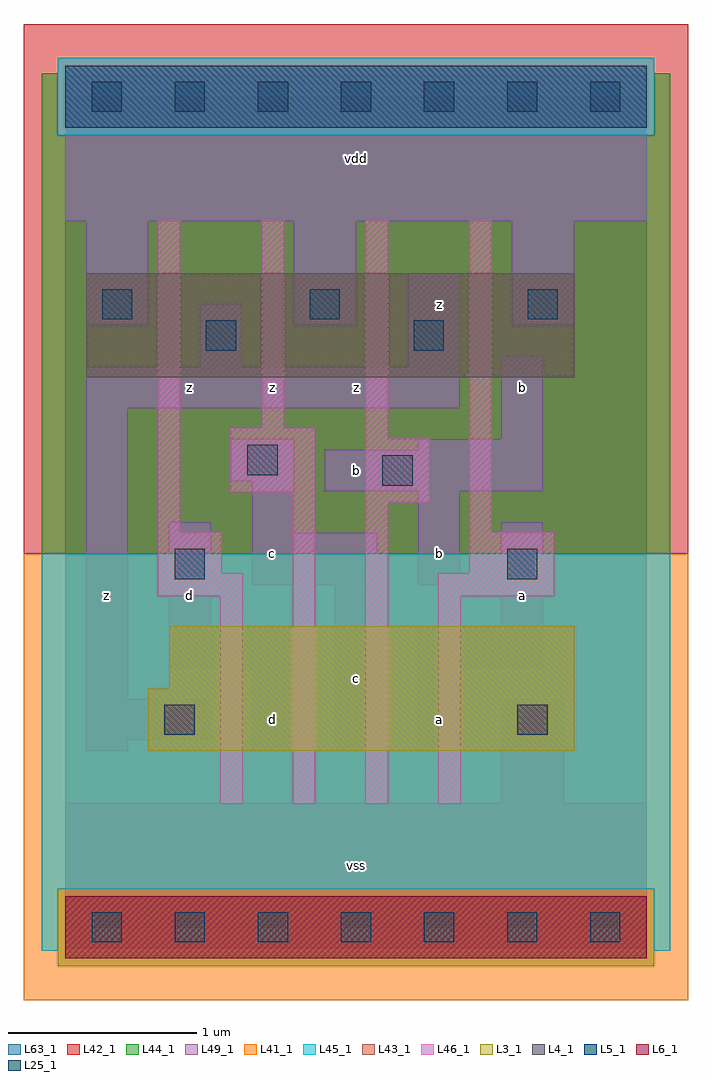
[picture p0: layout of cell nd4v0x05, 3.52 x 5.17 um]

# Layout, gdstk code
import gdstk
lib = gdstk.Library(unit=1e-6, precision=1e-09)
def R(c, l, rs):  # rectangles x0, y0, x1, y1
    for r in rs: c.add(gdstk.rectangle(r[:2], r[2:], *l))
def A(c, l, x, y, w, h, nx, ny, dx, dy):  # array of equal rectangles
    R(c, l, [(x+i*dx, y+j*dy, x+i*dx+w, y+j*dy+h) for i in range(nx) for j in range(ny)])
L3_1 = (3, 1)
L4_1 = (4, 1)
L5_1 = (5, 1)
L6_1 = (6, 1)
L25_1 = (25, 1)
L41_1 = (41, 1)
L42_1 = (42, 1)
L43_1 = (43, 1)
L44_1 = (44, 1)
L45_1 = (45, 1)
L46_1 = (46, 1)
L49_1 = (49, 1)
L63_1 = (63, 1)

nd4v0x05 = lib.new_cell('nd4v0x05')
R(nd4v0x05, L3_1, [(0.44,0.935,2.695,1.265), (0.55,1.265,2.695,1.595)])
R(nd4v0x05, L4_1, [(0.11,2.915,2.695,3.465)])
R(nd4v0x05, L5_1, [(0,4.235,3.08,4.565)])
R(nd4v0x05, L6_1, [(0,-0.165,3.08,0.165)])
A(nd4v0x05, L25_1, 0.14, -0.08, 0.16, 0.16, 7, 2, 0.44, 4.4)
R(nd4v0x05, L25_1, [(0.525,1.02,0.685,1.18), (2.395,1.02,2.555,1.18), (0.58,1.845,0.74,2.005), (2.34,1.845,2.5,2.005), (1.68,2.34,1.84,2.5), (0.965,2.395,1.125,2.555), (0.745,3.055,0.905,3.215), (1.845,3.055,2.005,3.215), (0.195,3.22,0.355,3.38), (1.295,3.22,1.455,3.38), (2.45,3.22,2.61,3.38)])
R(nd4v0x05, L41_1, [(-0.22,-0.385,3.3,1.98)])
R(nd4v0x05, L42_1, [(-0.22,1.98,3.3,4.785)])
R(nd4v0x05, L43_1, [(0,-0.165,3.08,0.165), (0.44,0.935,2.695,1.265), (0.55,1.265,2.695,1.595), (0.11,2.915,2.695,3.465), (0,4.235,3.08,4.565)])
R(nd4v0x05, L44_1, [(-0.04,-0.205,3.12,0.205), (-0.125,1.98,3.205,4.195), (-0.125,4.195,-0.04,4.525), (3.12,4.195,3.205,4.525)])
R(nd4v0x05, L45_1, [(-0.125,-0.125,-0.04,0.205), (3.12,-0.125,3.205,0.205), (-0.125,0.205,3.205,1.98), (-0.04,4.195,3.12,4.605)])
R(nd4v0x05, L46_1, [(0.82,0.655,0.94,1.755), (1.205,0.655,1.325,2.305), (1.59,0.655,1.71,2.25), (1.975,0.655,2.095,1.755), (0.49,1.755,0.94,1.875), (1.975,1.755,2.59,1.875), (0.49,1.875,0.83,2.095), (2.14,1.875,2.59,2.095), (0.49,2.095,0.61,3.745), (2.14,2.095,2.26,3.745), (1.59,2.25,1.93,2.59), (0.875,2.305,1.325,2.645), (1.59,2.59,1.71,3.745), (1.04,2.645,1.16,3.745)])
R(nd4v0x05, L49_1, [(0,-0.11,3.08,0.66), (2.31,0.66,2.64,1.21), (0.11,0.935,0.33,0.99), (0.99,0.935,1.21,1.375), (1.43,0.935,1.65,1.815), (1.87,0.935,2.09,1.375), (0.11,0.99,0.77,1.21), (0.11,1.21,0.33,2.75), (0.55,1.375,1.21,1.595), (1.87,1.375,2.53,1.595), (0.55,1.595,0.77,2.145), (2.31,1.595,2.53,2.145), (0.99,1.815,1.65,2.09), (1.87,1.815,2.09,2.31), (0.99,2.09,1.21,2.365), (1.375,2.31,2.53,2.53), (0.88,2.365,1.21,2.585), (1.87,2.53,2.53,2.585), (2.31,2.585,2.53,3.025), (0.11,2.75,2.09,2.97), (0.715,2.97,0.935,3.3), (1.815,2.97,2.09,3.465), (0.11,3.19,0.44,3.74), (1.21,3.19,1.54,3.74), (2.365,3.19,2.695,3.74), (0,3.74,3.08,4.51)])
R(nd4v0x05, L63_1, [(0,0,3.08,4.4)])
nd4v0x05.add(gdstk.Label('z', (0.22,1.76), layer=49, texttype=1))
nd4v0x05.add(gdstk.Label('d', (0.66,1.76), layer=49, texttype=1))
nd4v0x05.add(gdstk.Label('z', (0.66,2.86), layer=49, texttype=1))
nd4v0x05.add(gdstk.Label('vss', (1.54,0.33), layer=49, texttype=1))
nd4v0x05.add(gdstk.Label('d', (1.1,1.1), layer=49, texttype=1))
nd4v0x05.add(gdstk.Label('c', (1.54,1.32), layer=49, texttype=1))
nd4v0x05.add(gdstk.Label('c', (1.1,1.98), layer=49, texttype=1))
nd4v0x05.add(gdstk.Label('b', (1.54,2.42), layer=49, texttype=1))
nd4v0x05.add(gdstk.Label('z', (1.54,2.86), layer=49, texttype=1))
nd4v0x05.add(gdstk.Label('z', (1.1,2.86), layer=49, texttype=1))
nd4v0x05.add(gdstk.Label('vdd', (1.54,4.07), layer=49, texttype=1))
nd4v0x05.add(gdstk.Label('a', (1.98,1.1), layer=49, texttype=1))
nd4v0x05.add(gdstk.Label('a', (2.42,1.76), layer=49, texttype=1))
nd4v0x05.add(gdstk.Label('b', (1.98,1.98), layer=49, texttype=1))
nd4v0x05.add(gdstk.Label('b', (2.42,2.86), layer=49, texttype=1))
nd4v0x05.add(gdstk.Label('z', (1.98,3.3), layer=49, texttype=1))

lib.write_gds('nd4v0x05.gds')
